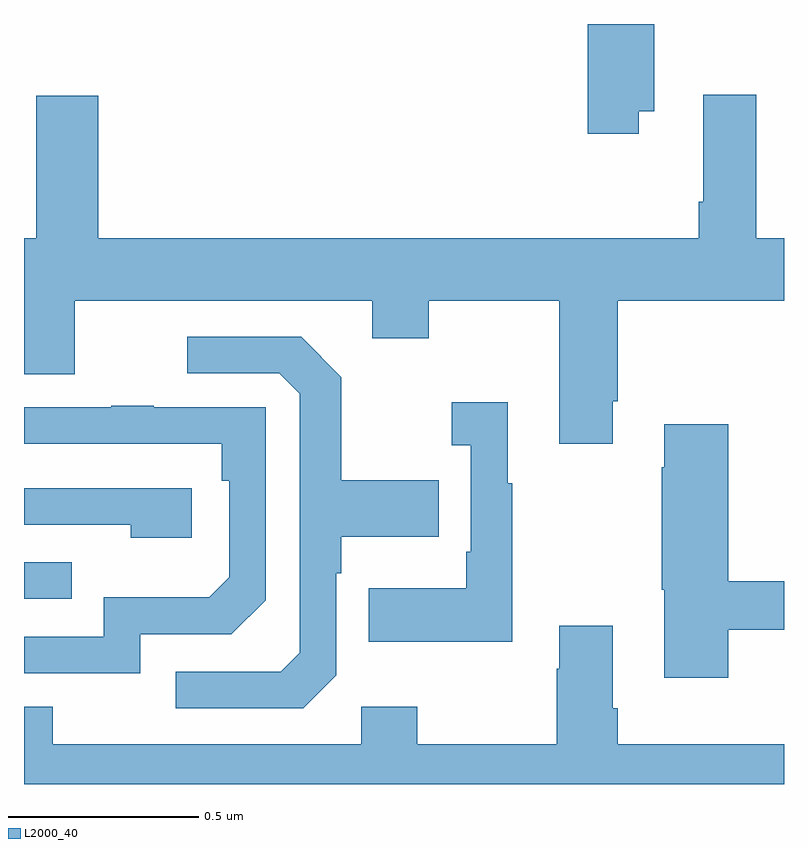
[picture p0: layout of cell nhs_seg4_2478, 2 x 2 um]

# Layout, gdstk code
import gdstk
lib = gdstk.Library(unit=1e-6, precision=1e-09)
def R(c, l, rs):  # rectangles x0, y0, x1, y1
    for r in rs: c.add(gdstk.rectangle(r[:2], r[2:], *l))
def P(c, l, *ps):  # polygons
    for p in ps: c.add(gdstk.Polygon(p, *l))
L2000_40 = (2000, 40)

nhs_seg4_2478 = lib.new_cell('nhs_seg4_2478')
R(nhs_seg4_2478, L2000_40, [(141,777.387,141.125,777.483)])
P(nhs_seg4_2478, L2000_40, [(142.618,778.67),(142.659,778.67),(142.659,778.9),(142.484,778.9),(142.484,778.611),(142.618,778.611)],
  [(142.549,777.907),(142.562,777.907),(142.562,778.172),(143,778.172),(143,778.336),(142.927,778.336),(142.927,778.714),(142.787,778.714),(142.787,778.432),(142.775,778.432),(142.775,778.336),(141.196,778.336),(141.196,778.711),(141.032,778.711),(141.032,778.336),(141,778.336),(141,777.978),(141.133,777.978),(141.133,778.172),(141.917,778.172),(141.917,778.073),(142.065,778.073),(142.065,778.172),(142.409,778.172),(142.409,777.795),(142.549,777.795)],
  [(141.822,777.186),(141.822,777.455),(141.835,777.455),(141.835,777.551),(142.091,777.551),(142.091,777.699),(141.835,777.699),(141.835,777.971),(141.729,778.077),(141.429,778.077),(141.429,777.981),(141.672,777.981),(141.726,777.927),(141.726,777.246),(141.675,777.195),(141.399,777.195),(141.399,777.099),(141.735,777.099)],
  [(142.285,777.691),(142.273,777.691),(142.273,777.904),(142.125,777.904),(142.125,777.791),(142.176,777.791),(142.176,777.511),(142.164,777.511),(142.164,777.415),(141.907,777.415),(141.907,777.275),(142.285,777.275)],
  [(141.306,777.294),(141.546,777.294),(141.636,777.384),(141.636,777.891),(141.341,777.891),(141.341,777.896),(141.229,777.896),(141.229,777.891),(141,777.891),(141,777.795),(141.52,777.795),(141.52,777.698),(141.54,777.698),(141.54,777.444),(141.487,777.391),(141.21,777.391),(141.21,777.288),(141,777.288),(141,777.192),(141.306,777.192)],
  [(142.853,777.306),(143,777.306),(143,777.434),(142.853,777.434),(142.853,777.847),(142.685,777.847),(142.685,777.734),(142.678,777.734),(142.678,777.411),(142.685,777.411),(142.685,777.18),(142.853,777.18)],
  [(141.442,777.678),(141,777.678),(141,777.582),(141.281,777.582),(141.281,777.548),(141.442,777.548)],
  [(143,777.004),(142.562,777.004),(142.562,777.1),(142.549,777.1),(142.549,777.316),(142.409,777.316),(142.409,777.203),(142.402,777.203),(142.402,777.004),(142.035,777.004),(142.035,777.103),(141.888,777.103),(141.888,777.004),(141.075,777.004),(141.075,777.103),(141,777.103),(141,776.9),(143,776.9)])

lib.write_gds('nhs_seg4_2478.gds')
